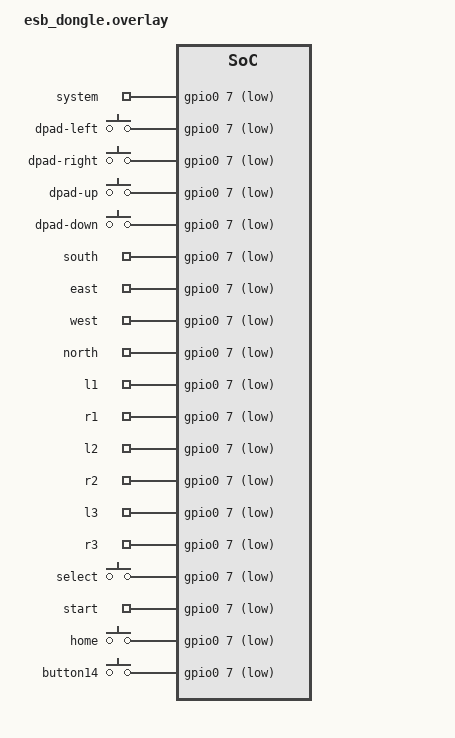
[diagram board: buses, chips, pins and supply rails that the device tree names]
/ {
    /* The dongle has no physical buttons. These dummy nodes keep the
     * button enum identical to the controller build so the RF bit mapping
     * lines up 1:1. All point at an unused pin, pulled up, never pressed. */
    gamepad-buttons {
        compatible = "gpio-keys";
        system { gpios = <&gpio0 7 (GPIO_PULL_UP | GPIO_ACTIVE_LOW)>; };
        dpad-left { gpios = <&gpio0 7 (GPIO_PULL_UP | GPIO_ACTIVE_LOW)>; };
        dpad-right { gpios = <&gpio0 7 (GPIO_PULL_UP | GPIO_ACTIVE_LOW)>; };
        dpad-up { gpios = <&gpio0 7 (GPIO_PULL_UP | GPIO_ACTIVE_LOW)>; };
        dpad-down { gpios = <&gpio0 7 (GPIO_PULL_UP | GPIO_ACTIVE_LOW)>; };
        south { gpios = <&gpio0 7 (GPIO_PULL_UP | GPIO_ACTIVE_LOW)>; };
        east { gpios = <&gpio0 7 (GPIO_PULL_UP | GPIO_ACTIVE_LOW)>; };
        west { gpios = <&gpio0 7 (GPIO_PULL_UP | GPIO_ACTIVE_LOW)>; };
        north { gpios = <&gpio0 7 (GPIO_PULL_UP | GPIO_ACTIVE_LOW)>; };
        l1 { gpios = <&gpio0 7 (GPIO_PULL_UP | GPIO_ACTIVE_LOW)>; };
        r1 { gpios = <&gpio0 7 (GPIO_PULL_UP | GPIO_ACTIVE_LOW)>; };
        l2 { gpios = <&gpio0 7 (GPIO_PULL_UP | GPIO_ACTIVE_LOW)>; };
        r2 { gpios = <&gpio0 7 (GPIO_PULL_UP | GPIO_ACTIVE_LOW)>; };
        l3 { gpios = <&gpio0 7 (GPIO_PULL_UP | GPIO_ACTIVE_LOW)>; };
        r3 { gpios = <&gpio0 7 (GPIO_PULL_UP | GPIO_ACTIVE_LOW)>; };
        select { gpios = <&gpio0 7 (GPIO_PULL_UP | GPIO_ACTIVE_LOW)>; };
        start { gpios = <&gpio0 7 (GPIO_PULL_UP | GPIO_ACTIVE_LOW)>; };
        home { gpios = <&gpio0 7 (GPIO_PULL_UP | GPIO_ACTIVE_LOW)>; };
        button14 { gpios = <&gpio0 7 (GPIO_PULL_UP | GPIO_ACTIVE_LOW)>; };
    };
};
